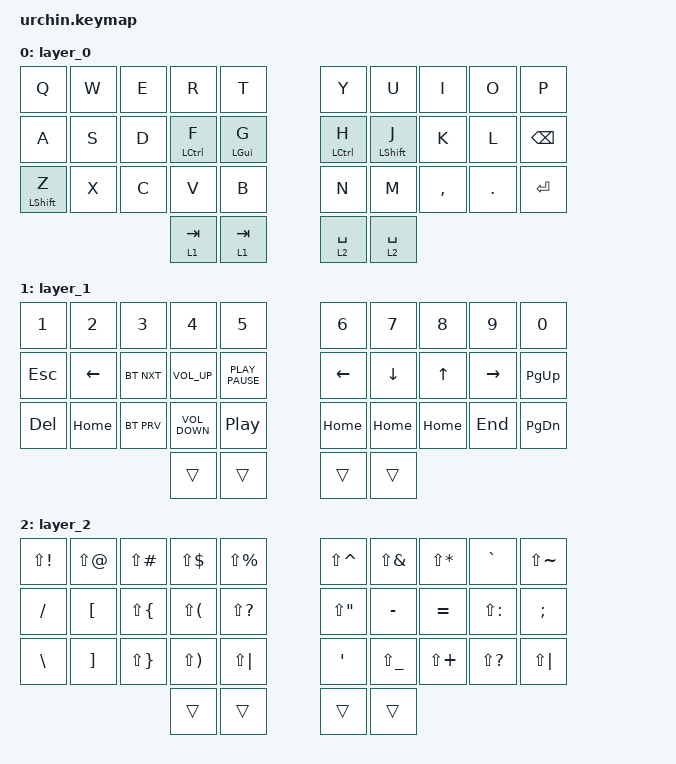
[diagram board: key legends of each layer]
/*
 * Copyright (c) 2020 duckyb
 *
 * SPDX-License-Identifier: MIT
 */

#include <behaviors.dtsi>
#include <dt-bindings/zmk/keys.h>
#include <dt-bindings/zmk/bt.h>
#include <dt-bindings/zmk/outputs.h>


#define HRML(k1,k2,k3,k4) &ht LSHFT k1  &ht LALT k2  &ht LCTRL k3  &ht LGUI k4
#define HRMR(k1,k2,k3,k4) &ht RGUI k1  &ht RCTRL k2  &ht RALT k3  &ht RSHFT k4

&sk {
	// don't release mods on other mods presses
	ignore-modifiers;
};


/ {
    behaviors {
        hm: homerow_mods {
            compatible = "zmk,behavior-hold-tap";
            #binding-cells = <2>;
            tapping_term_ms = <200>;
            quick-tap-ms = <0>;
            flavor = "tap-preferred";
            bindings = <&kp>, <&kp>;
        };
    };

    keymap {
        compatible = "zmk,keymap";

        layer_0 {
            bindings = <
&kp Q             &kp W  &kp E  &kp R        &kp T             &kp Y        &kp U             &kp I      &kp O    &kp P
&kp A             &kp S  &kp D  &hm LCTRL F  &hm LEFT_GUI G    &hm LCTRL H  &hm LEFT_SHIFT J  &kp K      &kp L    &kp BSPC
&mt LEFT_SHIFT Z  &kp X  &kp C  &kp V        &kp B             &kp N        &kp M             &kp COMMA  &kp DOT  &kp RET
                                &lt 1 TAB    &lt 1 TAB         &lt 2 SPACE  &lt 2 SPACE
            >;
        };

        layer_1 {
            bindings = <
&kp N1   &kp N2    &kp N3      &kp N4             &kp N5              &kp N6    &kp N7    &kp N8    &kp N9     &kp N0
&kp ESC  &kp LEFT  &bt BT_NXT  &kp C_VOLUME_UP    &kp K_PLAY_PAUSE    &kp LEFT  &kp DOWN  &kp UP    &kp RIGHT  &kp PG_UP
&kp DEL  &kp HOME  &bt BT_PRV  &kp C_VOLUME_DOWN  &kp C_PLAY_PAUSE    &kp HOME  &kp HOME  &kp HOME  &kp END    &kp PG_DN
                               &trans             &trans              &trans    &trans
            >;
        };

        layer_2 {
            bindings = <
&kp LS(EXCL)  &kp LS(AT)  &kp LS(POUND)  &kp LS(DLLR)  &kp LS(PRCNT)    &kp LS(CARET)  &kp LS(AMPS)   &kp LS(STAR)  &kp GRAVE      &kp LS(TILDE)
&kp FSLH      &kp LBKT    &kp LS(LBRC)   &kp LS(LPAR)  &kp LS(QMARK)    &kp LS(DQT)    &kp MINUS      &kp EQUAL     &kp LS(COLON)  &kp SEMI
&kp BSLH      &kp RBKT    &kp LS(RBRC)   &kp LS(RPAR)  &kp LS(PIPE)     &kp SQT        &kp LS(UNDER)  &kp LS(PLUS)  &kp LS(QMARK)  &kp LS(PIPE)
                                         &trans        &trans           &trans         &trans
            >;
        };
    };
};
